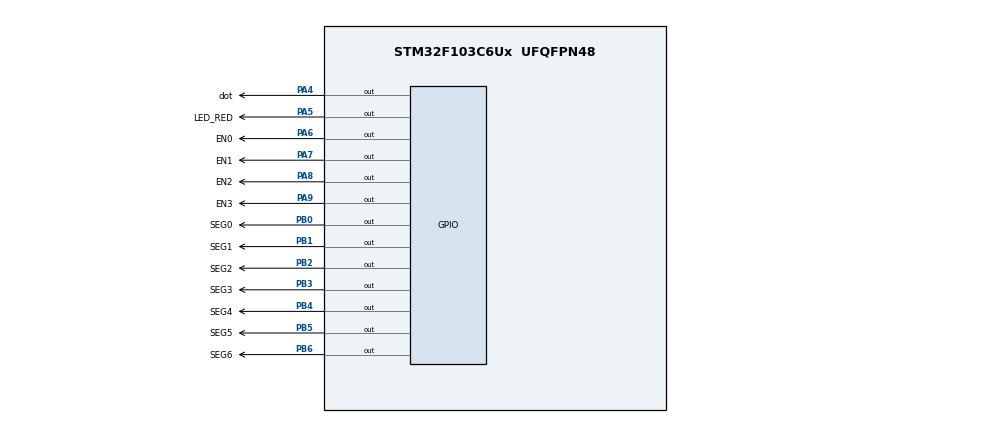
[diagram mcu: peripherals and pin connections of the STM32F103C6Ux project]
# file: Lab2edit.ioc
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Mcu.Family=STM32F1
Mcu.Name=STM32F103C6Ux
Mcu.Package=UFQFPN48
NVIC.PriorityGroup=NVIC_PRIORITYGROUP_4
NVIC.TIM2_IRQn=true\:0\:0\:false\:false\:true\:true\:true
PA4.GPIO_Label=dot
PA4.Signal=GPIO_Output
PA5.GPIO_Label=LED_RED
PA5.Signal=GPIO_Output
PA6.GPIO_Label=EN0
PA6.Signal=GPIO_Output
PA7.GPIO_Label=EN1
PA7.Signal=GPIO_Output
PA8.GPIO_Label=EN2
PA8.Signal=GPIO_Output
PA9.GPIO_Label=EN3
PA9.Signal=GPIO_Output
PB0.GPIO_Label=SEG0
PB0.Signal=GPIO_Output
PB1.GPIO_Label=SEG1
PB1.Signal=GPIO_Output
PB2.GPIO_Label=SEG2
PB2.Signal=GPIO_Output
PB3.GPIO_Label=SEG3
PB3.Signal=GPIO_Output
PB4.GPIO_Label=SEG4
PB4.Signal=GPIO_Output
PB5.GPIO_Label=SEG5
PB5.Signal=GPIO_Output
PB6.GPIO_Label=SEG6
PB6.Signal=GPIO_Output
ProjectManager.HeapSize=0x200
ProjectManager.StackSize=0x400
ProjectManager.TargetToolchain=STM32CubeIDE
RCC.APB1Freq_Value=8000000
RCC.APB2Freq_Value=8000000
TIM2.Period=9
TIM2.Prescaler=7999
VP_SYS_VS_ND.Mode=No_Debug
VP_TIM2_VS_ClockSourceINT.Mode=Internal
board=custom

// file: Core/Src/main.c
/* USER CODE BEGIN Header */
/**
  ******************************************************************************
  * @file           : main.c
  * @brief          : Main program body
  ******************************************************************************
  * @attention
  *
  * <h2><center>&copy; Copyright (c) 2024 STMicroelectronics.
  * All rights reserved.</center></h2>
  *
  * This software component is licensed by ST under BSD 3-Clause license,
  * the "License"; You may not use this file except in compliance with the
  * License. You may obtain a copy of the License at:
  *                        opensource.org/licenses/BSD-3-Clause
  *
  ******************************************************************************
  */
/* USER CODE END Header */
#include "main.h"
#include "../Inc/software_timer.h"

TIM_HandleTypeDef htim2;

void SystemClock_Config(void);
static void MX_GPIO_Init(void);
static void MX_TIM2_Init(void);

/* USER CODE BEGIN 0 */
static void display7seg(int num){
	HAL_GPIO_WritePin (SEG0_GPIO_Port , SEG0_Pin ,  GPIO_PIN_RESET );
	HAL_GPIO_WritePin (SEG1_GPIO_Port , SEG1_Pin ,  GPIO_PIN_RESET );
	HAL_GPIO_WritePin (SEG2_GPIO_Port , SEG2_Pin ,  GPIO_PIN_RESET );
	HAL_GPIO_WritePin (SEG3_GPIO_Port , SEG3_Pin ,  GPIO_PIN_RESET );
	HAL_GPIO_WritePin (SEG4_GPIO_Port , SEG4_Pin ,  GPIO_PIN_RESET );
	HAL_GPIO_WritePin (SEG5_GPIO_Port , SEG5_Pin ,  GPIO_PIN_RESET );
	HAL_GPIO_WritePin (SEG6_GPIO_Port , SEG6_Pin ,  GPIO_PIN_RESET );
	switch(num){
	case 0:
		HAL_GPIO_WritePin (SEG6_GPIO_Port , SEG6_Pin ,  GPIO_PIN_SET );
		break;
	case 1:
		HAL_GPIO_WritePin (SEG0_GPIO_Port , SEG0_Pin ,  GPIO_PIN_SET );
		HAL_GPIO_WritePin (SEG3_GPIO_Port , SEG3_Pin ,  GPIO_PIN_SET );
		HAL_GPIO_WritePin (SEG4_GPIO_Port , SEG4_Pin ,  GPIO_PIN_SET );
		HAL_GPIO_WritePin (SEG5_GPIO_Port , SEG5_Pin ,  GPIO_PIN_SET );
		HAL_GPIO_WritePin (SEG6_GPIO_Port , SEG6_Pin ,  GPIO_PIN_SET );
		break;
	case 2:
		HAL_GPIO_WritePin (SEG2_GPIO_Port , SEG2_Pin ,  GPIO_PIN_SET );
		HAL_GPIO_WritePin (SEG5_GPIO_Port , SEG5_Pin ,  GPIO_PIN_SET );
		break;
	case 3:
		HAL_GPIO_WritePin (SEG4_GPIO_Port , SEG4_Pin ,  GPIO_PIN_SET );
		HAL_GPIO_WritePin (SEG5_GPIO_Port , SEG5_Pin ,  GPIO_PIN_SET );
		break;
	case 4:
		HAL_GPIO_WritePin (SEG0_GPIO_Port , SEG0_Pin ,  GPIO_PIN_SET );
		HAL_GPIO_WritePin (SEG3_GPIO_Port , SEG3_Pin ,  GPIO_PIN_SET );
		HAL_GPIO_WritePin (SEG4_GPIO_Port , SEG4_Pin ,  GPIO_PIN_SET );
		break;
	case 5:
		HAL_GPIO_WritePin (SEG1_GPIO_Port , SEG1_Pin ,  GPIO_PIN_SET );
		HAL_GPIO_WritePin (SEG4_GPIO_Port , SEG4_Pin ,  GPIO_PIN_SET );
		break;
	case 6:
		HAL_GPIO_WritePin (SEG1_GPIO_Port , SEG1_Pin ,  GPIO_PIN_SET );
		break;
	case 7:
		HAL_GPIO_WritePin (SEG3_GPIO_Port , SEG3_Pin ,  GPIO_PIN_SET );
		HAL_GPIO_WritePin (SEG4_GPIO_Port , SEG4_Pin ,  GPIO_PIN_SET );
		HAL_GPIO_WritePin (SEG5_GPIO_Port , SEG5_Pin ,  GPIO_PIN_SET );
		HAL_GPIO_WritePin (SEG6_GPIO_Port , SEG6_Pin ,  GPIO_PIN_SET );
		break;
	case 8:
		break;
	case 9:
		HAL_GPIO_WritePin (SEG4_GPIO_Port , SEG4_Pin ,  GPIO_PIN_SET );
		break;
	default:
		HAL_GPIO_WritePin (SEG0_GPIO_Port , SEG0_Pin ,  GPIO_PIN_SET );
		HAL_GPIO_WritePin (SEG1_GPIO_Port , SEG1_Pin ,  GPIO_PIN_SET );
		HAL_GPIO_WritePin (SEG2_GPIO_Port , SEG2_Pin ,  GPIO_PIN_SET );
		HAL_GPIO_WritePin (SEG3_GPIO_Port , SEG3_Pin ,  GPIO_PIN_SET );
		HAL_GPIO_WritePin (SEG4_GPIO_Port , SEG4_Pin ,  GPIO_PIN_SET );
		HAL_GPIO_WritePin (SEG5_GPIO_Port , SEG5_Pin ,  GPIO_PIN_SET );
		HAL_GPIO_WritePin (SEG6_GPIO_Port , SEG6_Pin ,  GPIO_PIN_SET );
		break;
	}
}

const int MAX_LED = 4;
int index_led = 0;
int led_buffer[4] = {1,2,3,0};
static void update7seg(){
  index_led = index_led % 4;
  switch (index_led) {
	  case 1:
		  HAL_GPIO_TogglePin(EN0_GPIO_Port, EN0_Pin);
		  HAL_GPIO_TogglePin(EN1_GPIO_Port, EN1_Pin);
		  display7seg(led_buffer[index_led]);
		  break;
	  case 2:
		  HAL_GPIO_TogglePin(EN1_GPIO_Port, EN1_Pin);
		  HAL_GPIO_TogglePin(EN2_GPIO_Port, EN2_Pin);
		  display7seg(led_buffer[index_led]);
		  break;
	  case 3:
		  HAL_GPIO_TogglePin(EN2_GPIO_Port, EN2_Pin);
		  HAL_GPIO_TogglePin(EN3_GPIO_Port, EN3_Pin);
		  display7seg(led_buffer[index_led]);
		  break;
	  case 0:
		  HAL_GPIO_TogglePin(EN3_GPIO_Port, EN3_Pin);
		  HAL_GPIO_TogglePin(EN0_GPIO_Port, EN0_Pin);
		  display7seg(led_buffer[index_led]);
		  break;
  }
}
/* USER CODE END 0 */

int main(void)
{

  /* MCU Configuration--------------------------------------------------------*/

  /* Reset of all peripherals, Initializes the Flash interface and the Systick. */
  HAL_Init();

  /* Configure the system clock */
  SystemClock_Config();

  /* Initialize all configured peripherals */
  MX_GPIO_Init();
  MX_TIM2_Init();
  /* USER CODE BEGIN 2 */
  HAL_TIM_Base_Start_IT(&htim2);
  /* USER CODE END 2 */

  /* Infinite loop */
  /* USER CODE BEGIN WHILE */

  setTimer(0, 100);
  setTimer(1, 50);
  display7seg(led_buffer[index_led]);
  HAL_GPIO_TogglePin(EN1_GPIO_Port, EN1_Pin);
  HAL_GPIO_TogglePin(EN2_GPIO_Port, EN2_Pin);
  HAL_GPIO_TogglePin(EN3_GPIO_Port, EN3_Pin);
  while (1)
  {
    /* USER CODE END WHILE */
	  if (isTimerExpired(0) == 1) {
		  HAL_GPIO_TogglePin(LED_RED_GPIO_Port, LED_RED_Pin);
		  HAL_GPIO_TogglePin(dot_GPIO_Port, dot_Pin);
		  setTimer(0,100);
	  }
	  if (isTimerExpired(1) == 1) {
		  update7seg(index_led++);
		  setTimer(1,50);
	  }
  }
}

void SystemClock_Config(void)
{
  RCC_OscInitTypeDef RCC_OscInitStruct = {0};
  RCC_ClkInitTypeDef RCC_ClkInitStruct = {0};

  /** Initializes the RCC Oscillators according to the specified parameters
  * in the RCC_OscInitTypeDef structure.
  */
  RCC_OscInitStruct.OscillatorType = RCC_OSCILLATORTYPE_HSI;
  RCC_OscInitStruct.HSIState = RCC_HSI_ON;
  RCC_OscInitStruct.HSICalibrationValue = RCC_HSICALIBRATION_DEFAULT;
  RCC_OscInitStruct.PLL.PLLState = RCC_PLL_NONE;
  if (HAL_RCC_OscConfig(&RCC_OscInitStruct) != HAL_OK)
  {
    Error_Handler();
  }
  /** Initializes the CPU, AHB and APB buses clocks
  */
  RCC_ClkInitStruct.ClockType = RCC_CLOCKTYPE_HCLK|RCC_CLOCKTYPE_SYSCLK
                              |RCC_CLOCKTYPE_PCLK1|RCC_CLOCKTYPE_PCLK2;
  RCC_ClkInitStruct.SYSCLKSource = RCC_SYSCLKSOURCE_HSI;
  RCC_ClkInitStruct.AHBCLKDivider = RCC_SYSCLK_DIV1;
  RCC_ClkInitStruct.APB1CLKDivider = RCC_HCLK_DIV1;
  RCC_ClkInitStruct.APB2CLKDivider = RCC_HCLK_DIV1;

  if (HAL_RCC_ClockConfig(&RCC_ClkInitStruct, FLASH_LATENCY_0) != HAL_OK)
  {
    Error_Handler();
  }
}

static void MX_TIM2_Init(void)
{

  TIM_ClockConfigTypeDef sClockSourceConfig = {0};
  TIM_MasterConfigTypeDef sMasterConfig = {0};

  htim2.Instance = TIM2;
  htim2.Init.Prescaler = 7999;
  htim2.Init.CounterMode = TIM_COUNTERMODE_UP;
  htim2.Init.Period = 9;
  htim2.Init.ClockDivision = TIM_CLOCKDIVISION_DIV1;
  htim2.Init.AutoReloadPreload = TIM_AUTORELOAD_PRELOAD_DISABLE;
  if (HAL_TIM_Base_Init(&htim2) != HAL_OK)
  {
    Error_Handler();
  }
  sClockSourceConfig.ClockSource = TIM_CLOCKSOURCE_INTERNAL;
  if (HAL_TIM_ConfigClockSource(&htim2, &sClockSourceConfig) != HAL_OK)
  {
    Error_Handler();
  }
  sMasterConfig.MasterOutputTrigger = TIM_TRGO_RESET;
  sMasterConfig.MasterSlaveMode = TIM_MASTERSLAVEMODE_DISABLE;
  if (HAL_TIMEx_MasterConfigSynchronization(&htim2, &sMasterConfig) != HAL_OK)
  {
    Error_Handler();
  }

}

static void MX_GPIO_Init(void)
{
  GPIO_InitTypeDef GPIO_InitStruct = {0};

  /* GPIO Ports Clock Enable */
  __HAL_RCC_GPIOA_CLK_ENABLE();
  __HAL_RCC_GPIOB_CLK_ENABLE();

  /*Configure GPIO pin Output Level */
  HAL_GPIO_WritePin(GPIOA, dot_Pin|LED_RED_Pin|EN0_Pin|EN1_Pin
                          |EN2_Pin|EN3_Pin, GPIO_PIN_RESET);

  /*Configure GPIO pin Output Level */
  HAL_GPIO_WritePin(GPIOB, SEG0_Pin|SEG1_Pin|SEG2_Pin|SEG3_Pin
                          |SEG4_Pin|SEG5_Pin|SEG6_Pin, GPIO_PIN_RESET);

  /*Configure GPIO pins : dot_Pin LED_RED_Pin EN0_Pin EN1_Pin
                           EN2_Pin EN3_Pin */
  GPIO_InitStruct.Pin = dot_Pin|LED_RED_Pin|EN0_Pin|EN1_Pin
                          |EN2_Pin|EN3_Pin;
  GPIO_InitStruct.Mode = GPIO_MODE_OUTPUT_PP;
  GPIO_InitStruct.Pull = GPIO_NOPULL;
  GPIO_InitStruct.Speed = GPIO_SPEED_FREQ_LOW;
  HAL_GPIO_Init(GPIOA, &GPIO_InitStruct);

  /*Configure GPIO pins : SEG0_Pin SEG1_Pin SEG2_Pin SEG3_Pin
                           SEG4_Pin SEG5_Pin SEG6_Pin */
  GPIO_InitStruct.Pin = SEG0_Pin|SEG1_Pin|SEG2_Pin|SEG3_Pin
                          |SEG4_Pin|SEG5_Pin|SEG6_Pin;
  GPIO_InitStruct.Mode = GPIO_MODE_OUTPUT_PP;
  GPIO_InitStruct.Pull = GPIO_NOPULL;
  GPIO_InitStruct.Speed = GPIO_SPEED_FREQ_LOW;
  HAL_GPIO_Init(GPIOB, &GPIO_InitStruct);

}

/* USER CODE BEGIN 4 */
int counter = 100;
void HAL_TIM_PeriodElapsedCallback ( TIM_HandleTypeDef * htim )
{
	timerRun();
//	counter --;
//	if( counter <= 0) {
//	counter = 100;
//	HAL_GPIO_TogglePin ( LED_RED_GPIO_Port , LED_RED_Pin ) ;
//	}
}
/* USER CODE END 4 */

void Error_Handler(void)
{
  __disable_irq();
  while (1)
  {
  }
}

/************************ (C) COPYRIGHT STMicroelectronics *****END OF FILE****/
